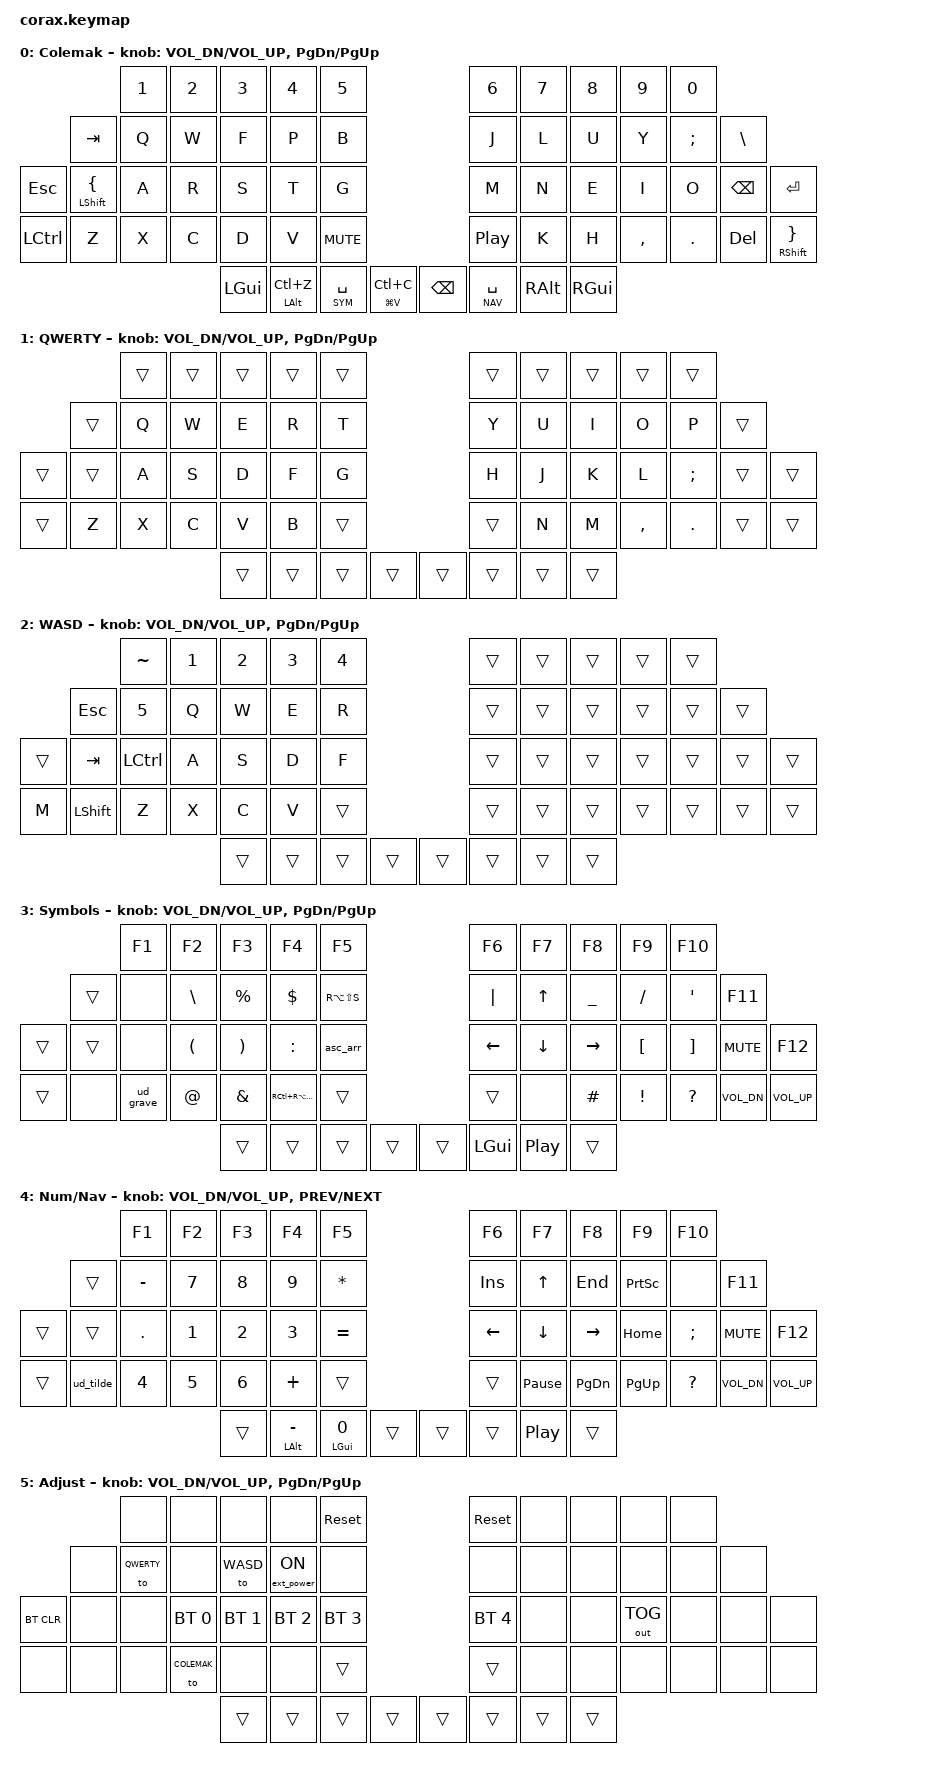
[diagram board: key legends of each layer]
#include <behaviors.dtsi>
#include <dt-bindings/zmk/bt.h>
#include <dt-bindings/zmk/ext_power.h>
#include <dt-bindings/zmk/keys.h>
#include <dt-bindings/zmk/outputs.h>
#include <dt-bindings/zmk/ext_power.h>

#define COLEMAK 0
#define QWERTY 1
#define WASD 2
#define SYM 3
#define NAV 4
#define ADJUST 5

/ {
    behaviors {
        lthp: layer_tap_hold_preferred {
            compatible = "zmk,behavior-hold-tap";
            #binding-cells = <2>;
            flavor = "hold-preferred";
            tapping-term-ms = <250>;
            bindings = <&mo>, <&kp>;
        };

        mthp: mod_tap_hold_preferred {
            compatible = "zmk,behavior-hold-tap";
            #binding-cells = <2>;
            flavor = "hold-preferred";
            tapping-term-ms = <250>;
            bindings = <&kp>, <&kp>;
        };
    };

    macros {
        // undead `

        ud_grave: ud_grave {
            compatible = "zmk,behavior-macro";
            #binding-cells = <0>;
            wait-ms = <10>;
            tap-ms = <10>;
            bindings = <&kp GRAVE &kp SPACE>;
        };

        // undead ~

        ud_tilde: ud_tilde {
            compatible = "zmk,behavior-macro";
            #binding-cells = <0>;
            wait-ms = <10>;
            tap-ms = <10>;
            bindings = <&kp TILDE &kp SPACE>;
        };

        // undead ^

        ud_caret: ud_caret {
            compatible = "zmk,behavior-macro";
            #binding-cells = <0>;
            wait-ms = <10>;
            tap-ms = <10>;
            bindings = <&kp CARET &kp SPACE>;
        };

        // undead '

        ud_sqt: ud_sqt {
            compatible = "zmk,behavior-macro";
            #binding-cells = <0>;
            wait-ms = <10>;
            tap-ms = <10>;
            bindings = <&kp SQT &kp SPACE>;
        };

        // undead "

        ud_dqt: ud_dqt {
            compatible = "zmk,behavior-macro";
            #binding-cells = <0>;
            wait-ms = <10>;
            tap-ms = <10>;
            bindings = <&kp LS(SQT) &kp SPACE>;
        };

        // ascii arrow ->

        asc_arr: asc_arr {
            compatible = "zmk,behavior-macro";
            #binding-cells = <0>;
            wait-ms = <10>;
            tap-ms = <10>;
            bindings = <&kp MINUS &kp LS(DOT)>;
        };
    };

    combos {
        compatible = "zmk,combos";

        gm_capsword {
            bindings = <&caps_word>;

            // caps on G+M

            key-positions = <28 29>;
        };

        sticky_adjust {
            bindings = <&sl ADJUST>;

            // sticky adjust layer on LALT+RALT

            key-positions = <51 56>;
        };
    };

    keymap {
        compatible = "zmk,keymap";

        colemak_layer {
            display-name = "Colemak";
            bindings = <
                         &kp N1  &kp N2  &kp N3    &kp N4          &kp N5                                             &kp N6         &kp N7    &kp N8     &kp N9   &kp N0
         &kp TAB         &kp Q   &kp W   &kp F     &kp P           &kp B                                              &kp J          &kp L     &kp U      &kp Y    &kp SEMICOLON  &kp BACKSLASH
&kp ESC  &mt LSHFT LBRC  &kp A   &kp R   &kp S     &kp T           &kp G                                              &kp M          &kp N     &kp E      &kp I    &kp O          &kp BACKSPACE   &kp ENTER
         &kp LCTRL       &kp Z   &kp X   &kp C     &kp D           &kp V            &kp C_MUTE         &kp C_PP       &kp K          &kp H     &kp COMMA  &kp DOT  &kp DEL        &mt RSHFT RBRC
                                         &kp LGUI  &mt LALT LC(Z)  &lthp SYM SPACE  &mt LG(V) LC(C)    &kp BACKSPACE  &lt NAV SPACE  &kp RALT  &kp RGUI
            >;

            sensor-bindings = <&inc_dec_kp C_VOL_DN C_VOL_UP &inc_dec_kp PG_DN PG_UP>;
        };

        qwerty_layer {
            display-name = "QWERTY";
            bindings = <
                &trans  &trans  &trans  &trans  &trans                    &trans  &trans  &trans     &trans   &trans
        &trans  &kp Q   &kp W   &kp E   &kp R   &kp T                     &kp Y   &kp U   &kp I      &kp O    &kp P     &trans
&trans  &trans  &kp A   &kp S   &kp D   &kp F   &kp G                     &kp H   &kp J   &kp K      &kp L    &kp SEMI  &trans  &trans
        &trans  &kp Z   &kp X   &kp C   &kp V   &kp B   &trans    &trans  &kp N   &kp M   &kp COMMA  &kp DOT  &trans    &trans
                                &trans  &trans  &trans  &trans    &trans  &trans  &trans  &trans
            >;

            sensor-bindings = <&inc_dec_kp C_VOL_DN C_VOL_UP &inc_dec_kp PG_DN PG_UP>;
        };

        gaming_layer {
            display-name = "WASD";
            bindings = <
                 &kp TILDE   &kp N1  &kp N2  &kp N3  &kp N4                    &trans  &trans  &trans  &trans  &trans
        &kp ESC  &kp N5      &kp Q   &kp W   &kp E   &kp R                     &trans  &trans  &trans  &trans  &trans  &trans
&trans  &kp TAB  &kp LCTRL   &kp A   &kp S   &kp D   &kp F                     &trans  &trans  &trans  &trans  &trans  &trans  &trans
        &kp M    &kp LSHIFT  &kp Z   &kp X   &kp C   &kp V   &trans    &trans  &trans  &trans  &trans  &trans  &trans  &trans
                                     &trans  &trans  &trans  &trans    &trans  &trans  &trans  &trans
            >;

            sensor-bindings = <&inc_dec_kp C_VOL_DN C_VOL_UP &inc_dec_kp PG_DN PG_UP>;
        };

        // left mod

        sym_layer {
            display-name = "Symbols";
            bindings = <
                &kp F1  &kp F2     &kp F3     &kp F4     &kp F5                             &kp F6          &kp F7           &kp F8           &kp F9        &kp F10
        &trans  &none   &kp BSLH   &kp PRCNT  &kp DLLR   &kp RA(LS(S))                      &kp PIPE        &kp UP_ARROW     &kp UNDER        &kp SLASH     &kp SQT       &kp F11
&trans  &trans  &none   &kp LPAR   &kp RPAR   &kp COLON  &asc_arr                           &kp LEFT_ARROW  &kp DOWN_ARROW   &kp RIGHT_ARROW  &kp LBKT      &kp RBKT      &kp K_MUTE      &kp F12 
        &trans  &none   &ud_grave  &kp AT     &kp AMPS   &kp RC(RA(F14))  &trans    &trans  &none           &kp HASH         &kp EXCLAMATION  &kp QUESTION  &kp C_VOL_DN  &kp C_VOLUME_UP
                                   &trans     &trans     &trans           &trans    &trans  &kp LGUI        &kp C_PLAY_PAUSE &trans
            >;

            sensor-bindings = <&inc_dec_kp C_VOL_DN C_VOL_UP &inc_dec_kp PG_DN PG_UP>;
        };

        // right mod

        nav_layer {
            display-name = "Num/Nav";
            bindings = <
                &kp F1     &kp F2  &kp F3  &kp F4          &kp F5                         &kp F6           &kp F7           &kp F8     &kp F9        &kp F10
        &trans  &kp MINUS  &kp N7  &kp N8  &kp N9          &kp STAR                       &kp INS          &kp UP_ARROW     &kp END    &kp PSCRN     &none         &kp F11
&trans  &trans  &kp DOT    &kp N1  &kp N2  &kp N3          &kp EQUAL                      &kp LEFT         &kp DOWN         &kp RIGHT  &kp HOME      &kp SEMI      &kp C_MUTE    &kp F12
        &trans  &ud_tilde  &kp N4  &kp N5  &kp N6          &kp PLUS     &trans    &trans  &kp PAUSE_BREAK  &kp PG_DN        &kp PG_UP  &kp QUESTION  &kp C_VOL_DN  &kp C_VOL_UP
                                   &trans  &mt LALT MINUS  &mt LGUI N0  &trans    &trans  &trans           &kp C_PLAY_PAUSE &trans
            >;

            sensor-bindings = <&inc_dec_kp C_VOL_DN C_VOL_UP &inc_dec_kp C_PREV C_NEXT>;
        };

        adjust_layer {
            display-name = "Adjust";
            bindings = <
                   &none       &none         &none         &none             &sys_reset                      &sys_reset    &none   &none   &none         &none
            &none  &to QWERTY  &none         &to WASD      &ext_power EP_ON  &none                           &none         &none   &none   &none         &none  &none
&bt BT_CLR  &none  &none       &bt BT_SEL 0  &bt BT_SEL 1  &bt BT_SEL 2      &bt BT_SEL 3                    &bt BT_SEL 4  &none   &none   &out OUT_TOG  &none  &none  &none
            &none  &none       &none         &to COLEMAK   &none             &none         &trans    &trans  &none         &none   &none   &none         &none  &none
                                             &trans        &trans            &trans        &trans    &trans  &trans        &trans  &trans
            >;

            sensor-bindings = <&inc_dec_kp C_VOL_DN C_VOL_UP &inc_dec_kp PG_DN PG_UP>;
        };
    };
};
